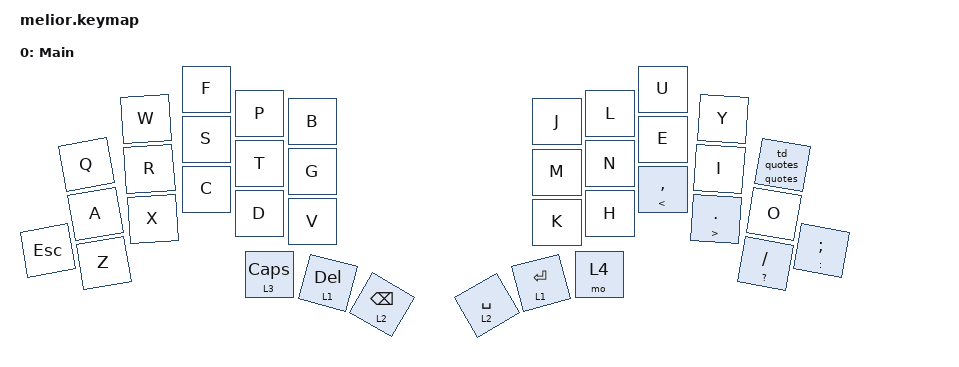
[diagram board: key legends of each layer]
//                                                                                                        █                                                                                                                                                                                                       
//                                                                                                       ██                                                                                                                                                                                                       
//                                                                                                      █████                                                                                                                                                                                                     
//                                                                                                  ████████████                                                                                                                                                                                                  
//                                                                                                 ██████████████                                                                                                                                                                                                 
//                                                                                                ████████████████                                                                                                                                                                                                
//                                                                                            █████████████████████████                                                                                                                                                                                           
//                                                                                                ████████████████                                                                                                                                                                                                
//                                                                                                 ███████████████                                                                                                                                                                                                
//                                                                                                  █████████████                                                                                                                                                                                                 
//                                                                                          ███        ███████       ███                                                                                                                                                                                          
//                                                                                         █████         ███        ██████                                                                                                                                                                                        
//                                                                                       ███████         ██         ███████                                                                                                                                                                                       
//                                                                                      █████████                  █████████                                                                                                                                                                                      
//                                                                                    █████   ███                  ███   █████                                                                                                                                                                                    
//                                                                                  █████      ███                ████     █████                                                                                                                                                                                  
//                                                                                 █████       ███                ███       ██████                                                                                                                                                                                
//                                                                               █████          ███              ███          ██████                                                                                                                                                                              
//                                                                            █████              ██              ██              █████                                                                                                                                                                            
//                                                                          █████                 ██            ██                 █████                                                                                                                                                                          
//                                                                       █████                     ██          ██                     █████                                                                                                                                                                       
//                                                                     █████                        █          █                        █████                                                                                                                                                                     
//                                                                  █████                            █        █                             ████                                                                                                                                                                  
//                                                              █████                                █        █                                █████                                                                                                                                                              
//                                                           ████                                     █      █                                     ████                                                                                                                                                           
//                                                       ████                                                                                          ████                                                                                                                                                       
//                                                  ████                                                                                                    ████                                                                                                                                                  
//                                              ███                                                                                                              ████                                                                                                                                             
//                                        ██                                                                                                                            ██                                                                                                                                        
//                                  █                                                                                                                                          █                                                                                                                                  
//                                                                                                                                                                                                                                                                                                                                                                                                                
//             █████               ████                ██████████████████                ███                            ███                  ██████████████████                  ███████████████████                                                                                                               
//             ██████            ██████                ███                               ███                            ███                ███                ███                ███              ███                                                                                                              
//             ███  ███         ██  ███                ███                               ███                            ███                ███                 ███               ███              ███                                                                                                              
//             ███   ███      ███   ███                █████████████████                 ███                            ███                ██                  ███               ███             ████                                                                                                              
//             ███     ███  ███     ███                ███                               ███                            ███                ██                  ███               ███      ████████                                                                                                                 
//             ███       █████      ███                ███                               ███                            ███                ███                 ███               ███         ████                                                                                                                  
//             ███        ██        ███                ███                               ███                            ███                 ███              ████                ███           ████                                                                                                                
//             ███                  ███                ███████████████████               █████████████████              ███                    ███████████████                   ███              ████                 


#include <behaviors.dtsi>
#include <dt-bindings/zmk/backlight.h>
#include <dt-bindings/zmk/keys.h>
#include <dt-bindings/zmk/pointing.h>
#include <dt-bindings/zmk/bt.h>
#include <dt-bindings/zmk/outputs.h>

&mt {
    global-quick-tap;
    tapping-term-ms = <300>;
    quick-tap-ms = <200>;
    flavor = "tap-preferred";
};

&lt {
    tapping-term-ms = <250>;
    quick-tap-ms = <200>;
    flavor = "tap-preferred";
};

/ {
    behaviors {
//Tap Dance
        td_quotes: td_quotes {
            compatible = "zmk,behavior-tap-dance";
            label = "TD_QUOTES";
            #binding-cells = <0>;
            bindings = <&kp SQT>, <&kp DOUBLE_QUOTES>;

            tapping-term-ms = <250>;
        };

//Hold Tap

        ht_quotes: ht_quotes {
            compatible = "zmk,behavior-hold-tap";
            label = "HT_QUOTES";
            bindings = <&quotes>, <&td_quotes>;

            #binding-cells = <2>;
            tapping-term-ms = <250>;
        };



// Hold Tap Spanish Letters
};

//Combos
    combos {
        compatible = "zmk,combos";


    };

//Macros
    macros {

// Punctuation Macros
        quotes: quotes {
            compatible = "zmk,behavior-macro";
            #binding-cells = <0>;
            bindings = <&kp DQT &kp DQT &kp LEFT>;
            label = "QUOTES";
        };
    };

    keymap {
        compatible = "zmk,keymap";

        base_layer {
            display-name = "Main";
            bindings = <
            &kp Q  &kp W  &kp F       &kp P         &kp B              &kp J        &kp L        &kp U                &kp Y                    &ht_quotes 0 0
            &kp A  &kp R  &kp S       &kp T         &kp G              &kp M        &kp N        &kp E                &kp I                    &kp O
&kp ESCAPE  &kp Z  &kp X  &kp C       &kp D         &kp V              &kp K        &kp H        &mt LESS_THAN COMMA  &mt GREATER_THAN PERIOD  &mt QUESTION SLASH  &mt COLON SEMICOLON
                          &lt 3 CAPS  &lt 1 DELETE  &lt 2 BACKSPACE    &lt 2 SPACE  &lt 1 ENTER  &mo 4
            >;
        };
    };
};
